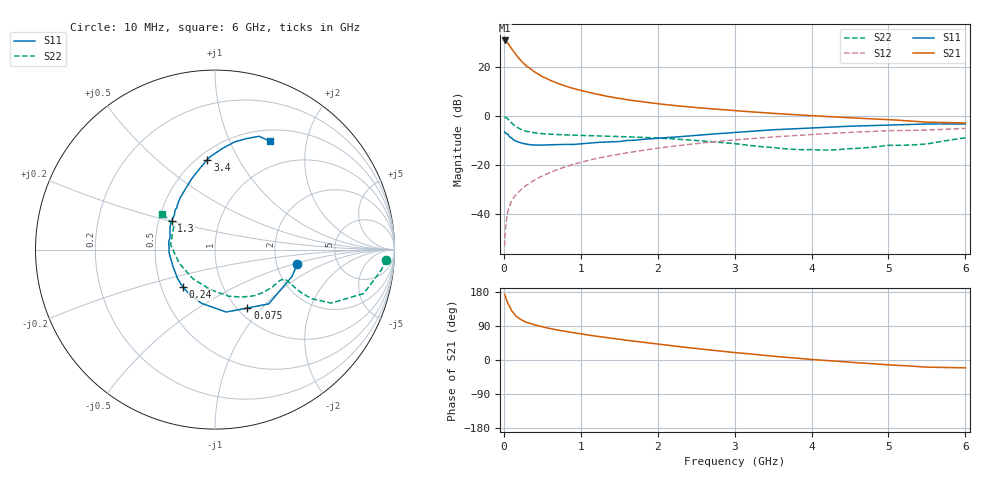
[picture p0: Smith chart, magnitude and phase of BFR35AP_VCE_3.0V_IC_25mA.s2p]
! Infineon Technologies  Discrete & RF Semiconductors
! BFR35AP
! VCE =  3.0 V,  IC =  25 mA
! Common Emitter S-Parameters:  Nov 2015
# GHz  S  MA  R  50
!  f  S11  S21  S12  S22
! GHz  MAG  ANG  MAG  ANG  MAG  ANG  MAG  ANG
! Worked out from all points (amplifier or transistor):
!   210 points, 10 MHz to 6 GHz, reference 50 ohm
!   highest |S21| = 30.6 dB at 10 MHz (marker M1)
!   |S21| within 3 dB of that: start of sweep to 93.19 MHz
!   unconditionally stable (mu >= 1): 302.9 MHz to 3.306 GHz
!   at 185 MHz: K = 0.83, MSG = 27.6 dB, |S12| = -31.3 dB
!   at 1.52 GHz: K = 1.13, MAG = 9.1 dB, |S12| = -15.6 dB
!   at 6 GHz: K = 0.98, MSG = 1.1 dB, |S12| = -5.2 dB
!   S11 on the Smith chart (normalised r, x): 10 MHz: 2.61, -0.53; 75 MHz: 1.11, -0.84; 240 MHz: 0.65, -0.29; 1.3 GHz: 0.58, +0.20; 3.4 GHz: 0.56, +0.75; 6 GHz: 0.64, +1.42
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0.01  0.465 -9.8  34.04 173.4  0.0022 83.6  0.9548 -3.4
0.02  0.4543 -19.2  33.42 166.9  0.0048 82.2  0.9324 -7.2
0.05  0.4257 -45.3  30.34 150.1  0.0108 73.7  0.8632 -16.5
0.075  0.3723 -60.9  26.44 141.4  0.0145 69.5  0.7861 -20.2
0.1  0.3536 -79.8  23.35 130.1  0.0183 67.1  0.7129 -24.7
0.15  0.3086 -103.8  18 117.2  0.0238 65.5  0.6064 -26.9
0.2  0.2878 -119.2  14.45 109.3  0.0285 67.5  0.5438 -26.6
0.24  0.2744 -130.4  12.39 104.7  0.033 67.9  0.5107 -25.9
0.3  0.2624 -143.1  10.11 98.9  0.0388 69.7  0.4766 -24.9
0.4  0.2526 -157.4  7.778 92.7  0.049 70.6  0.4464 -23.5
0.5  0.2518 -168.2  6.273 87.3  0.0591 71.6  0.4289 -23.1
0.6  0.2565 -176.2  5.276 83.0  0.0696 71.6  0.4195 -23.1
0.7  0.2571 176.0  4.563 78.9  0.0802 71.7  0.4121 -23.7
0.82  0.2609 169.6  3.922 74.8  0.0928 70.7  0.405 -24.7
1.02  0.2689 158.8  3.207 68.4  0.1142 69.4  0.3958 -27.0
1.3  0.2886 147.0  2.552 60.2  0.1442 67.1  0.3846 -31.2
2.02  0.3495 123.4  1.738 41.6  0.2192 59.2  0.3478 -45.5
3.1  0.4661 99.7  1.235 17.9  0.33 45.6  0.258 -77.7
3.4  0.5032 94.8  1.143 12.1  0.3589 41.5  0.2305 -91.3
4.1  0.5732 84.6  0.98 -0.0  0.4232 32.0  0.2004 -133.9
5.1  0.6488 73.1  0.814 -13.8  0.4965 17.3  0.2486 168.8
6  0.6766 63.2  0.711 -20.7  0.5508 6.6  0.3549 145.6
